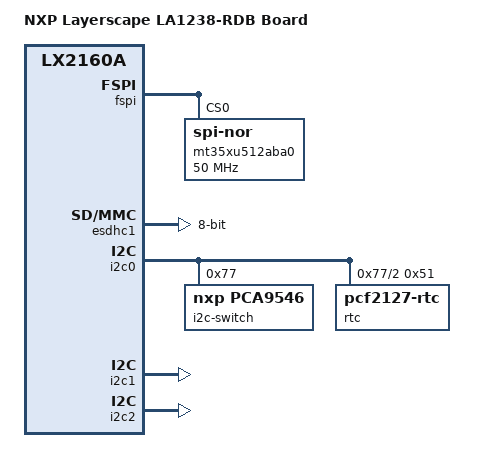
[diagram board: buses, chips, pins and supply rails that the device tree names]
// SPDX-License-Identifier: GPL-2.0+ OR X11
/*
 * NXP LA1238RDB device tree source
 *
 * Copyright 2021 NXP
 *
 */

/dts-v1/;

#include "fsl-lx2160a.dtsi"

/ {
	model = "NXP Layerscape LA1238-RDB Board";
	compatible = "fsl,la1238rdb", "fsl,lx2160a";

	aliases {
		spi0 = &fspi;
	};
};

&fspi {
	status = "okay";

	mt35xu512aba0: flash@0 {
		#address-cells = <1>;
		#size-cells = <1>;
		compatible = "jedec,spi-nor";
		spi-max-frequency = <50000000>;
		reg = <0>;
		spi-rx-bus-width = <8>;
		spi-tx-bus-width = <1>;
	};
};

&usb0 {
	status = "disabled";
};

&usb1 {
	status = "disabled";
};

&esdhc1 {
	status = "okay";
	mmc-hs200-1_8v;
	mmc-hs400-1_8v;
	bus-width = <8>;
};

&i2c0 {
	status = "okay";
	u-boot,dm-pre-reloc;

	i2c-switch@77 {
		compatible = "nxp,pca9546";
		reg = <0x77>;
		#address-cells = <1>;
		#size-cells = <0>;

		i2c@2 {
			#address-cells = <1>;
			#size-cells = <0>;
			reg = <0x2>;

			rtc@51 {
				compatible = "pcf2127-rtc";
				reg = <0x51>;
			};
		};
	};
};

&i2c1 {
	status = "okay";
};

&i2c2 {
	status = "okay";
};

&gpio0 {
	u-boot,dm-pre-reloc;
};

&gpio1 {
	u-boot,dm-pre-reloc;
};

&gpio2 {
	u-boot,dm-pre-reloc;
};

&gpio3 {
	u-boot,dm-pre-reloc;
};

&pcie1 {
	status = "disabled";
};

&pcie2 {
	status = "disabled";
};

&pcie5 {
	status = "disabled";
};

&pcie6 {
	status = "disabled";
};
